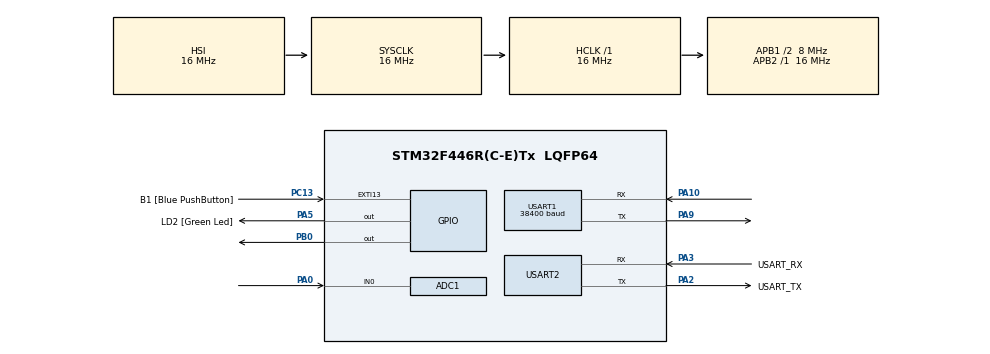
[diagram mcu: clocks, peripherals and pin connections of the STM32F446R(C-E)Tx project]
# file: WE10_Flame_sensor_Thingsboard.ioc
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ADC1.Channel-0\#ChannelRegularConversion=ADC_CHANNEL_0
ADC1.NbrOfConversionFlag=1
ADC1.Rank-0\#ChannelRegularConversion=1
ADC1.SamplingTime-0\#ChannelRegularConversion=ADC_SAMPLETIME_3CYCLES
ADC1.master=1
Mcu.Family=STM32F4
Mcu.Name=STM32F446R(C-E)Tx
Mcu.Package=LQFP64
NVIC.PriorityGroup=NVIC_PRIORITYGROUP_0
PA0-WKUP.Signal=ADCx_IN0
PA10.Mode=Asynchronous
PA10.Signal=USART1_RX
PA13.GPIO_Label=TMS
PA13.Mode=Serial_Wire
PA13.Signal=SYS_JTMS-SWDIO
PA14.GPIO_Label=TCK
PA14.Mode=Serial_Wire
PA14.Signal=SYS_JTCK-SWCLK
PA2.GPIO_Label=USART_TX
PA2.Mode=Asynchronous
PA2.Signal=USART2_TX
PA3.GPIO_Label=USART_RX
PA3.Mode=Asynchronous
PA3.Signal=USART2_RX
PA5.GPIO_Label=LD2 [Green Led]
PA5.Signal=GPIO_Output
PA9.Mode=Asynchronous
PA9.Signal=USART1_TX
PB0.Signal=GPIO_Output
PB3.GPIO_Label=SWO
PB3.Signal=SYS_JTDO-SWO
PC13.GPIO_Label=B1 [Blue PushButton]
PC13.GPIO_ModeDefaultEXTI=GPIO_MODE_IT_FALLING
PC13.Signal=GPXTI13
PC14-OSC32_IN.Mode=LSE-External-Oscillator
PC14-OSC32_IN.Signal=RCC_OSC32_IN
PC15-OSC32_OUT.Mode=LSE-External-Oscillator
PC15-OSC32_OUT.Signal=RCC_OSC32_OUT
PH0-OSC_IN.Mode=HSE-External-Oscillator
PH0-OSC_IN.Signal=RCC_OSC_IN
PH1-OSC_OUT.Mode=HSE-External-Oscillator
PH1-OSC_OUT.Signal=RCC_OSC_OUT
ProjectManager.HeapSize=0x200
ProjectManager.StackSize=0x400
ProjectManager.TargetToolchain=STM32CubeIDE
RCC.48MHZClocksFreq_Value=84000000
RCC.AHBFreq_Value=16000000
RCC.APB1CLKDivider=RCC_HCLK_DIV2
RCC.APB1Freq_Value=8000000
RCC.APB1TimFreq_Value=16000000
RCC.APB2Freq_Value=16000000
RCC.APB2TimFreq_Value=16000000
RCC.CortexFreq_Value=16000000
RCC.FLatency-AdvancedSettings=FLASH_LATENCY_0
RCC.HCLKFreq_Value=16000000
RCC.HSE_VALUE=8000000
RCC.HSI_VALUE=16000000
RCC.PLLN=336
RCC.PLLP=RCC_PLLP_DIV4
RCC.SYSCLKFreq_VALUE=16000000
RCC.USBFreq_Value=168000000
RCC.VCOOutputFreq_Value=336000000
SH.ADCx_IN0.0=ADC1_IN0,IN0
USART1.BaudRate=38400
USART1.VirtualMode=VM_ASYNC
USART2.VirtualMode=VM_ASYNC
board=NUCLEO-F446RE

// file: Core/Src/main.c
/* USER CODE BEGIN Header */
/**
  ******************************************************************************
  * @file           : main.c
  * @brief          : Main program body for Flame Sensor, Buzzer & ThingsBoard
  *                    (STM32 + WE10 WiFi/MQTT module)
  ******************************************************************************
  * @attention
  *
  * Copyright (c) 2026 STMicroelectronics.
  * All rights reserved.
  *
  * This software is licensed under terms that can be found in the LICENSE file
  * in the root directory of this software component.
  * If no LICENSE file comes with this software, it is provided AS-IS.
  *
  ******************************************************************************
  */
/* USER CODE END Header */
#include "main.h"

/* USER CODE BEGIN Includes */
#include <stdio.h>
#include <string.h>

/* Buzzer */
#define BUZZER_PORT      GPIOB
#define BUZZER_PIN       GPIO_PIN_0

/* Flame sensor (analog, PA0 / ADC1 Channel 0) */
/* NOTE: this sensor's ADC reading DROPS as IR/flame intensity rises, so
   "detected" means flame_adc < FLAME_THRESHOLD, not >. 2000 is a rough
   starting point for a 12-bit ADC (0-4095) — watch the printed flame_adc
   values with no flame vs. a real flame nearby and set this roughly
   halfway between the two before relying on it. */
#define FLAME_THRESHOLD  2000

/* ThingsBoard Settings */
#define TB_HOST          "thingsboard.cloud"
#define TB_PORT          "1883"
#define TB_ACCESS_TOKEN  "6K5lSP9qHRWvs3xtHzD7"     /* Paste your ThingsBoard device Access Token here. */
                                 /* NEVER commit a real token to source control -    */
                                 /* keep it in a separate untracked secrets.h if     */
                                 /* this project goes into git.                      */

/* WiFi credentials for WE10 module */
#define WIFI_SSID        "Hero"
#define WIFI_PASSWORD    "hero1234"

/* Response read tuning */
#define WE10_RESP_BUF_LEN      160
#define WE10_RESP_TIMEOUT_MS   2000   /* max total time to wait for a response  */
#define WE10_BYTE_TIMEOUT_MS   50     /* per-byte poll; also used as "idle gap" */

/* USER CODE END Includes */

ADC_HandleTypeDef hadc1;

UART_HandleTypeDef huart1;   /* WE10 module (AT commands)   */
UART_HandleTypeDef huart2;   /* Debug console (ST-Link VCP) */

/* USER CODE BEGIN PV */
uint32_t flame_adc = 0;
/* USER CODE END PV */

void SystemClock_Config(void);
static void MX_GPIO_Init(void);
static void MX_USART2_UART_Init(void);
static void MX_ADC1_Init(void);
static void MX_USART1_UART_Init(void);

/* USER CODE BEGIN PFP */
static uint16_t WE10_ReadResponse(char *buffer, uint16_t max_len, uint32_t timeout_ms);
static uint8_t  WE10_SendCmd(const char *cmd, char *resp_out, uint16_t resp_out_len);
uint8_t  WE10_Init(const char *ssid, const char *password);
uint8_t  MQTT_Init(void);
void     mqtt_publish_data(uint8_t detected);
/* USER CODE END PFP */

/* USER CODE BEGIN 0 */

/* Retarget printf() to UART2 (ST-Link debug console) */
int __io_putchar(int ch)
{
    HAL_UART_Transmit(&huart2, (uint8_t *)&ch, 1, HAL_MAX_DELAY);
    return ch;
}

/**
  * @brief  Read a variable-length AT response from UART1 without blocking
  *         for a fixed byte count. Keeps reading one byte at a time and
  *         resets the timeout clock every time a new byte arrives, so it
  *         returns as soon as the module goes quiet (or the overall
  *         timeout expires if nothing ever arrives).
  * @retval Number of bytes read into buffer (0 = nothing received at all).
  */
static uint16_t WE10_ReadResponse(char *buffer, uint16_t max_len, uint32_t timeout_ms)
{
    uint16_t idx = 0;
    uint32_t start = HAL_GetTick();
    uint8_t byte;

    memset(buffer, 0, max_len);

    while ((HAL_GetTick() - start) < timeout_ms && idx < (max_len - 1))
    {
        if (HAL_UART_Receive(&huart1, &byte, 1, WE10_BYTE_TIMEOUT_MS) == HAL_OK)
        {
            buffer[idx++] = (char)byte;
            start = HAL_GetTick();   /* reset "quiet gap" timer on each byte */
        }
        /* else: no byte this poll, keep looping until overall timeout */
    }

    buffer[idx] = '\0';
    return idx;
}

/**
  * @brief  Send an AT-style command to the WE10 module over UART1, print
  *         the command and response over the debug console (UART2), and
  *         optionally hand the raw response back to the caller.
  * @retval 1 if the response contained "OK", 0 otherwise (timeout / ERROR).
  */
static uint8_t WE10_SendCmd(const char *cmd, char *resp_out, uint16_t resp_out_len)
{
    char buffer[WE10_RESP_BUF_LEN];
    uint16_t len;

    HAL_UART_Transmit(&huart1, (uint8_t *)cmd, strlen(cmd), 1000);
    len = WE10_ReadResponse(buffer, sizeof(buffer), WE10_RESP_TIMEOUT_MS);

    printf("CMD : %s", cmd);
    if (len > 0)
    {
        printf("RESP: %s\r\n", buffer);
    }
    else
    {
        printf("RESP: (timeout / no response)\r\n");
    }

    if (resp_out != NULL && resp_out_len > 0)
    {
        strncpy(resp_out, buffer, resp_out_len - 1);
        resp_out[resp_out_len - 1] = '\0';
    }

    return (len > 0 && strstr(buffer, "OK") != NULL) ? 1 : 0;
}

/**
  * @brief  Reset the WE10 module and connect it to the given WiFi network.
  * @retval 1 if every step in the sequence responded with OK, 0 if any
  *         step failed or timed out (check the debug console for which).
  */
uint8_t WE10_Init(const char *ssid, const char *password)
{
    char cmd[128];
    char resp[WE10_RESP_BUF_LEN];
    uint8_t ok = 1;

    ok &= WE10_SendCmd("CMD+RESET\r\n", resp, sizeof(resp));
    HAL_Delay(3000);

    ok &= WE10_SendCmd("CMD+WIFIMODE=1\r\n", resp, sizeof(resp));   /* Station mode */
    HAL_Delay(1000);

    snprintf(cmd, sizeof(cmd), "CMD+CONTOAP=%s,%s\r\n", ssid, password);
    ok &= WE10_SendCmd(cmd, resp, sizeof(resp));
    HAL_Delay(4000);

    /* Status query response format is module-specific; this just logs it. */
    WE10_SendCmd("CMD?WIFI\r\n", resp, sizeof(resp));
    HAL_Delay(1000);

    if (!ok)
    {
        printf(">>> WiFi init: one or more AT commands did NOT return OK. "
               "Check wiring/baud rate and the exact AT command syntax "
               "in the WE10 datasheet.\r\n");
    }

    return ok;
}

/**
  * @brief  Configure and start an MQTT session from the WE10 module to
  *         ThingsBoard Cloud. ThingsBoard authenticates MQTT clients using
  *         the device Access Token as the MQTT username (no password).
  * @retval 1 if every step responded with OK, 0 otherwise.
  */
uint8_t MQTT_Init(void)
{
    char cmd[160];
    char resp[WE10_RESP_BUF_LEN];
    uint8_t ok = 1;

    /* Set broker host + port */
    snprintf(cmd, sizeof(cmd), "CMD+MQTTNETCFG=%s,%s\r\n", TB_HOST, TB_PORT);
    ok &= WE10_SendCmd(cmd, resp, sizeof(resp));
    HAL_Delay(1000);

    /* Client ID, username = access token, password = blank.
       NOTE: double-check this field order/count against the WE10 AT
       command manual for CMD+MQTTCONCFG — module firmwares vary. */
    snprintf(cmd, sizeof(cmd), "CMD+MQTTCONCFG=3,FLAME_SENSOR,%s,,,,,,,,\r\n", TB_ACCESS_TOKEN);
    ok &= WE10_SendCmd(cmd, resp, sizeof(resp));
    HAL_Delay(1000);

    ok &= WE10_SendCmd("CMD+MQTTSTART=1\r\n", resp, sizeof(resp));
    HAL_Delay(3000);

    if (ok)
    {
        printf(">>> MQTT session appears to be up. Check the ThingsBoard "
               "device's 'Latest telemetry' tab for incoming data.\r\n");
    }
    else
    {
        printf(">>> MQTT init: one or more AT commands did NOT return OK. "
               "Verify TB_ACCESS_TOKEN and the MQTTCONCFG argument order.\r\n");
    }

    return ok;
}

/**
  * @brief  Publish current flame status as telemetry to ThingsBoard.
  */
void mqtt_publish_data(uint8_t detected)
{
    char payload[128];
    char cmd_buffer[256];
    char resp[WE10_RESP_BUF_LEN];

    printf("--------------------------------\r\n");
    printf("Flame ADC : %lu\r\n", flame_adc);

    if (detected)
    {
        printf("Status : Fire Detected! Buzzer ON\r\n");
        snprintf(payload, sizeof(payload),
                 "{\"flame_adc\":%lu,\"flame_detected\":true,\"status\":\"Fire Detected\"}",
                 flame_adc);
    }
    else
    {
        printf("Status : Safe (No Fire)\r\n");
        snprintf(payload, sizeof(payload),
                 "{\"flame_adc\":%lu,\"flame_detected\":false,\"status\":\"No Fire\"}",
                 flame_adc);
    }

    /* Wrap payload in quotes so the WE10 AT parser doesn't split on commas */
    snprintf(cmd_buffer, sizeof(cmd_buffer),
             "CMD+MQTTPUB=\"v1/devices/me/telemetry\",\"%s\"\r\n", payload);

    if (!WE10_SendCmd(cmd_buffer, resp, sizeof(resp)))
    {
        printf(">>> Publish may have failed (no OK from module). If this "
               "keeps happening, re-check MQTT_Init() succeeded.\r\n");
    }
}
/* USER CODE END 0 */

int main(void)
{

  /* MCU Configuration--------------------------------------------------------*/
  HAL_Init();

  /* Configure the system clock */
  SystemClock_Config();

  /* Initialize all configured peripherals */
  MX_GPIO_Init();
  MX_USART2_UART_Init();
  MX_ADC1_Init();
  MX_USART1_UART_Init();

  /* USER CODE BEGIN 2 */
  printf("\r\n--- Flame Sensor + ThingsBoard (STM32 + WE10) ---\r\n");

  /* Connect WE10 module to WiFi */
  uint8_t wifi_ok = WE10_Init(WIFI_SSID, WIFI_PASSWORD);

  /* Connect to ThingsBoard Cloud via MQTT */
  uint8_t mqtt_ok = 0;
  if (wifi_ok)
  {
      mqtt_ok = MQTT_Init();
  }
  else
  {
      printf(">>> Skipping MQTT_Init() because WiFi did not connect. "
             "Fix WiFi first, then telemetry will start flowing.\r\n");
  }
  /* USER CODE END 2 */

  /* Infinite loop */
  while (1)
  {

    /* USER CODE BEGIN 3 */
    /* Read flame sensor analog value (PA0 / ADC1 Channel 0) */
    HAL_ADC_Start(&hadc1);
    if (HAL_ADC_PollForConversion(&hadc1, 100) == HAL_OK)
    {
        flame_adc = HAL_ADC_GetValue(&hadc1);
    }
    HAL_ADC_Stop(&hadc1);

    /* Flame detection logic: this sensor's analog output DROPS as IR/flame
       intensity rises (phototransistor conducts harder -> lower voltage),
       so a strong flame gives a LOW ADC reading and weak ambient light
       gives a HIGH one. Detect when the reading falls BELOW the threshold. */
    uint8_t detected = (flame_adc < FLAME_THRESHOLD) ? 1 : 0;

    if (detected)
    {
        /* Buzzer + onboard LED ON */
        HAL_GPIO_WritePin(BUZZER_PORT, BUZZER_PIN, GPIO_PIN_SET);
        HAL_GPIO_WritePin(LD2_GPIO_Port, LD2_Pin, GPIO_PIN_SET);
    }
    else
    {
        /* Buzzer + onboard LED OFF */
        HAL_GPIO_WritePin(BUZZER_PORT, BUZZER_PIN, GPIO_PIN_RESET);
        HAL_GPIO_WritePin(LD2_GPIO_Port, LD2_Pin, GPIO_PIN_RESET);
    }

    /* Only attempt to publish if MQTT actually came up; otherwise this
       will just spam timeouts to the debug console every 2 seconds. */
    if (mqtt_ok)
    {
        mqtt_publish_data(detected);
    }
    else
    {
        printf("--------------------------------\r\n");
        printf("Flame ADC : %lu (MQTT not connected, not publishing)\r\n", flame_adc);
    }

    HAL_Delay(2000);
  }
  /* USER CODE END 3 */
}

void SystemClock_Config(void)
{
  RCC_OscInitTypeDef RCC_OscInitStruct = {0};
  RCC_ClkInitTypeDef RCC_ClkInitStruct = {0};

  /** Configure the main internal regulator output voltage */
  __HAL_RCC_PWR_CLK_ENABLE();
  __HAL_PWR_VOLTAGESCALING_CONFIG(PWR_REGULATOR_VOLTAGE_SCALE3);

  /** Initializes the RCC Oscillators according to the specified parameters
  * in the RCC_OscInitTypeDef structure.
  */
  RCC_OscInitStruct.OscillatorType = RCC_OSCILLATORTYPE_HSI;
  RCC_OscInitStruct.HSIState = RCC_HSI_ON;
  RCC_OscInitStruct.HSICalibrationValue = RCC_HSICALIBRATION_DEFAULT;
  RCC_OscInitStruct.PLL.PLLState = RCC_PLL_NONE;
  if (HAL_RCC_OscConfig(&RCC_OscInitStruct) != HAL_OK)
  {
    Error_Handler();
  }

  /** Initializes the CPU, AHB and APB buses clocks */
  RCC_ClkInitStruct.ClockType = RCC_CLOCKTYPE_HCLK|RCC_CLOCKTYPE_SYSCLK
                              |RCC_CLOCKTYPE_PCLK1|RCC_CLOCKTYPE_PCLK2;
  RCC_ClkInitStruct.SYSCLKSource = RCC_SYSCLKSOURCE_HSI;
  RCC_ClkInitStruct.AHBCLKDivider = RCC_SYSCLK_DIV1;
  RCC_ClkInitStruct.APB1CLKDivider = RCC_HCLK_DIV2;
  RCC_ClkInitStruct.APB2CLKDivider = RCC_HCLK_DIV1;

  if (HAL_RCC_ClockConfig(&RCC_ClkInitStruct, FLASH_LATENCY_0) != HAL_OK)
  {
    Error_Handler();
  }
}

static void MX_ADC1_Init(void)
{

  ADC_ChannelConfTypeDef sConfig = {0};

  /** Configure the global features of the ADC (Clock, Resolution, Data
  * Alignment and number of conversion)
  */
  hadc1.Instance = ADC1;
  hadc1.Init.ClockPrescaler = ADC_CLOCK_SYNC_PCLK_DIV2;
  hadc1.Init.Resolution = ADC_RESOLUTION_12B;
  hadc1.Init.ScanConvMode = DISABLE;
  hadc1.Init.ContinuousConvMode = DISABLE;
  hadc1.Init.DiscontinuousConvMode = DISABLE;
  hadc1.Init.ExternalTrigConvEdge = ADC_EXTERNALTRIGCONVEDGE_NONE;
  hadc1.Init.ExternalTrigConv = ADC_SOFTWARE_START;
  hadc1.Init.DataAlign = ADC_DATAALIGN_RIGHT;
  hadc1.Init.NbrOfConversion = 1;
  hadc1.Init.DMAContinuousRequests = DISABLE;
  hadc1.Init.EOCSelection = ADC_EOC_SINGLE_CONV;
  if (HAL_ADC_Init(&hadc1) != HAL_OK)
  {
    Error_Handler();
  }

  /** Configure for the selected ADC regular channel its corresponding
  * rank in the sequencer and its sample time.
  */
  sConfig.Channel = ADC_CHANNEL_0;
  sConfig.Rank = 1;
  sConfig.SamplingTime = ADC_SAMPLETIME_3CYCLES;
  if (HAL_ADC_ConfigChannel(&hadc1, &sConfig) != HAL_OK)
  {
    Error_Handler();
  }
}

static void MX_USART1_UART_Init(void)
{

  huart1.Instance = USART1;
  huart1.Init.BaudRate = 38400;
  huart1.Init.WordLength = UART_WORDLENGTH_8B;
  huart1.Init.StopBits = UART_STOPBITS_1;
  huart1.Init.Parity = UART_PARITY_NONE;
  huart1.Init.Mode = UART_MODE_TX_RX;
  huart1.Init.HwFlowCtl = UART_HWCONTROL_NONE;
  huart1.Init.OverSampling = UART_OVERSAMPLING_16;
  if (HAL_UART_Init(&huart1) != HAL_OK)
  {
    Error_Handler();
  }
}

static void MX_USART2_UART_Init(void)
{

  huart2.Instance = USART2;
  huart2.Init.BaudRate = 115200;
  huart2.Init.WordLength = UART_WORDLENGTH_8B;
  huart2.Init.StopBits = UART_STOPBITS_1;
  huart2.Init.Parity = UART_PARITY_NONE;
  huart2.Init.Mode = UART_MODE_TX_RX;
  huart2.Init.HwFlowCtl = UART_HWCONTROL_NONE;
  huart2.Init.OverSampling = UART_OVERSAMPLING_16;
  if (HAL_UART_Init(&huart2) != HAL_OK)
  {
    Error_Handler();
  }
}

static void MX_GPIO_Init(void)
{
  GPIO_InitTypeDef GPIO_InitStruct = {0};

  /* GPIO Ports Clock Enable */
  __HAL_RCC_GPIOC_CLK_ENABLE();
  __HAL_RCC_GPIOH_CLK_ENABLE();
  __HAL_RCC_GPIOA_CLK_ENABLE();
  __HAL_RCC_GPIOB_CLK_ENABLE();

  /*Configure GPIO pin Output Level */
  HAL_GPIO_WritePin(LD2_GPIO_Port, LD2_Pin, GPIO_PIN_RESET);
  HAL_GPIO_WritePin(GPIOB, GPIO_PIN_0, GPIO_PIN_RESET);

  /*Configure GPIO pin : B1_Pin */
  GPIO_InitStruct.Pin = B1_Pin;
  GPIO_InitStruct.Mode = GPIO_MODE_IT_FALLING;
  GPIO_InitStruct.Pull = GPIO_NOPULL;
  HAL_GPIO_Init(B1_GPIO_Port, &GPIO_InitStruct);

  /*Configure GPIO pin : LD2_Pin */
  GPIO_InitStruct.Pin = LD2_Pin;
  GPIO_InitStruct.Mode = GPIO_MODE_OUTPUT_PP;
  GPIO_InitStruct.Pull = GPIO_NOPULL;
  GPIO_InitStruct.Speed = GPIO_SPEED_FREQ_LOW;
  HAL_GPIO_Init(LD2_GPIO_Port, &GPIO_InitStruct);

  /*Configure GPIO pin : PB0 (Buzzer Pin) */
  GPIO_InitStruct.Pin = GPIO_PIN_0;
  GPIO_InitStruct.Mode = GPIO_MODE_OUTPUT_PP;
  GPIO_InitStruct.Pull = GPIO_NOPULL;
  GPIO_InitStruct.Speed = GPIO_SPEED_FREQ_LOW;
  HAL_GPIO_Init(GPIOB, &GPIO_InitStruct);

}

void Error_Handler(void)
{
  __disable_irq();
  while (1)
  {
  }
}
